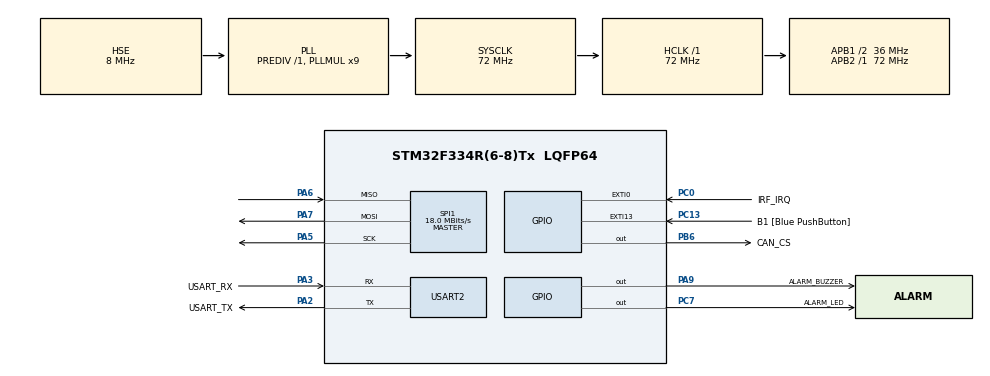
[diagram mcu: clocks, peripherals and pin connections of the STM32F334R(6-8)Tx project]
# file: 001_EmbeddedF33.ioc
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Mcu.Family=STM32F3
Mcu.Name=STM32F334R(6-8)Tx
Mcu.Package=LQFP64
NVIC.EXTI0_IRQn=true\:0\:0\:false\:false\:true\:true\:true\:true
NVIC.PriorityGroup=NVIC_PRIORITYGROUP_0
PA13.GPIO_Label=TMS
PA13.Mode=Serial_Wire
PA13.Signal=SYS_JTMS-SWDIO
PA14.GPIO_Label=TCK
PA14.Mode=Serial_Wire
PA14.Signal=SYS_JTCK-SWCLK
PA2.GPIO_Label=USART_TX
PA2.Mode=Asynchronous
PA2.Signal=USART2_TX
PA3.GPIO_Label=USART_RX
PA3.Mode=Asynchronous
PA3.Signal=USART2_RX
PA5.Mode=Full_Duplex_Master
PA5.Signal=SPI1_SCK
PA6.Mode=Full_Duplex_Master
PA6.Signal=SPI1_MISO
PA7.Mode=Full_Duplex_Master
PA7.Signal=SPI1_MOSI
PA9.GPIO_Label=ALARM_BUZZER
PA9.Signal=GPIO_Output
PB3.GPIO_Label=SWO
PB3.Signal=SYS_JTDO-TRACESWO
PB6.GPIO_Label=CAN_CS
PB6.Signal=GPIO_Output
PC0.GPIO_Label=IRF_IRQ
PC0.GPIO_ModeDefaultEXTI=GPIO_MODE_IT_FALLING
PC0.Signal=GPXTI0
PC13.GPIO_Label=B1 [Blue PushButton]
PC13.GPIO_ModeDefaultEXTI=GPIO_MODE_IT_FALLING
PC13.Signal=GPXTI13
PC14\ /\ OSC32_IN.Mode=LSE-External-Oscillator
PC14\ /\ OSC32_IN.Signal=RCC_OSC32_IN
PC15\ /\ OSC32_OUT.GPIO_Label=RCC_OSC32_OUT
PC15\ /\ OSC32_OUT.Mode=LSE-External-Oscillator
PC15\ /\ OSC32_OUT.Signal=RCC_OSC32_OUT
PC7.GPIO_Label=ALARM_LED
PC7.Signal=GPIO_Output
PF0\ /\ OSC_IN.Mode=HSE-External-Clock-Source
PF0\ /\ OSC_IN.Signal=RCC_OSC_IN
PF1\ /\ OSC_OUT.Signal=RCC_OSC_OUT
ProjectManager.HeapSize=0x200
ProjectManager.StackSize=0x400
ProjectManager.TargetToolchain=STM32CubeIDE
RCC.AHBFreq_Value=72000000
RCC.APB1CLKDivider=RCC_HCLK_DIV2
RCC.APB1Freq_Value=36000000
RCC.APB1TimFreq_Value=72000000
RCC.APB2Freq_Value=72000000
RCC.APB2TimFreq_Value=72000000
RCC.CortexFreq_Value=72000000
RCC.FLatency-AdvancedSettings=FLASH_LATENCY_2
RCC.HCLKFreq_Value=72000000
RCC.HSE_VALUE=8000000
RCC.HSI_VALUE=8000000
RCC.PLLMUL=RCC_PLL_MUL9
RCC.PLLSourceVirtual=RCC_PLLSOURCE_HSE
RCC.SYSCLKFreq_VALUE=72000000
RCC.SYSCLKSourceVirtual=RCC_SYSCLKSOURCE_PLLCLK
SPI1.BaudRatePrescaler=SPI_BAUDRATEPRESCALER_4
SPI1.CalculateBaudRate=18.0 MBits/s
SPI1.DataSize=SPI_DATASIZE_8BIT
SPI1.Direction=SPI_DIRECTION_2LINES
SPI1.Mode=SPI_MODE_MASTER
SPI1.VirtualType=VM_MASTER
TIM1.Prescaler=71
USART2.VirtualMode-Asynchronous=VM_ASYNC
VP_TIM1_VS_ClockSourceINT.Mode=Internal
board=NUCLEO-F334R8

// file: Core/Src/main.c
/* USER CODE BEGIN Header */
/**
  ******************************************************************************
  * @file           : main.c
  * @brief          : Main program body
  ******************************************************************************
  * @attention
  *
  * Copyright (c) 2023 STMicroelectronics.
  * All rights reserved.
  *
  * This software is licensed under terms that can be found in the LICENSE file
  * in the root directory of this software component.
  * If no LICENSE file comes with this software, it is provided AS-IS.
  *
  ******************************************************************************
  */
/* USER CODE END Header */
#include "main.h"

/* USER CODE BEGIN Includes */

#include "IRF.h"
#include "CANSPI.h"
#include "stdio.h"
#include "string.h"

/* USER CODE END Includes */

SPI_HandleTypeDef hspi1;

TIM_HandleTypeDef htim1;

UART_HandleTypeDef huart2;

/* USER CODE BEGIN PV */

uCAN_MSG txMessage;
uCAN_MSG rxMessage;

#define CAR_CLOSE			(0x5)
#define CAR_OPEN			(0x6)
#define ALARM_ENABLE		(0x7)

uint32_t carTimer = 0;
/* USER CODE END PV */

void SystemClock_Config(void);
static void MX_GPIO_Init(void);
static void MX_USART2_UART_Init(void);
static void MX_TIM1_Init(void);
static void MX_SPI1_Init(void);

int main(void)
{

  /* MCU Configuration--------------------------------------------------------*/

  /* Reset of all peripherals, Initializes the Flash interface and the Systick. */
  HAL_Init();

  /* Configure the system clock */
  SystemClock_Config();

  /* Initialize all configured peripherals */
  MX_GPIO_Init();
  MX_USART2_UART_Init();
  MX_TIM1_Init();
  MX_SPI1_Init();
  /* USER CODE BEGIN 2 */

  IRF_Init();
  CANSPI_Initialize();

  /* USER CODE END 2 */

  /* Infinite loop */
  while (1)
  {

    /* USER CODE BEGIN 3 */

	  if(irfState.irfFlag == IRF_FLAG_ON)		//check the remote controller
	  {
		    txMessage.frame.idType = dSTANDARD_CAN_MSG_ID_2_0B;	//standart can
		    txMessage.frame.id = 0x0A;
		    txMessage.frame.dlc = 3;
		    txMessage.frame.data0 = irfState.code & 0xFF;
		    txMessage.frame.data1 = (irfState.code >> 8) & 0xFF;
		    txMessage.frame.data2 = (irfState.code >> 16) & 0xFF;
		    irfState.irfFlag = IRF_FLAG_OFF;
		    CANSPI_Transmit(&txMessage);
	  }
	  if(CANSPI_Receive(&rxMessage))			//if take can message
	  {
		  if(rxMessage.frame.id == 0xA && rxMessage.frame.dlc == 1 &&  rxMessage.frame.idType == dSTANDARD_CAN_MSG_ID_2_0B)
		  {
			  if(rxMessage.frame.data0 == ALARM_ENABLE || rxMessage.frame.data0 == CAR_OPEN)
			  {
				  HAL_GPIO_WritePin(ALARM_BUZZER_GPIO_Port, ALARM_BUZZER_Pin, GPIO_PIN_SET);
				  HAL_GPIO_WritePin(ALARM_LED_GPIO_Port, ALARM_LED_Pin, GPIO_PIN_SET);
				  HAL_Delay(600);
				  HAL_GPIO_WritePin(ALARM_BUZZER_GPIO_Port, ALARM_BUZZER_Pin, GPIO_PIN_RESET);
				  memset(&rxMessage, 0, sizeof(rxMessage));

			  }
			  else if(rxMessage.frame.data0 == CAR_CLOSE)
			  {
				  HAL_GPIO_WritePin(ALARM_BUZZER_GPIO_Port, ALARM_BUZZER_Pin, GPIO_PIN_RESET);
				  HAL_GPIO_WritePin(ALARM_LED_GPIO_Port, ALARM_LED_Pin, GPIO_PIN_RESET);
			  }
		  }
	  }
  }
  /* USER CODE END 3 */
}

void SystemClock_Config(void)
{
  RCC_OscInitTypeDef RCC_OscInitStruct = {0};
  RCC_ClkInitTypeDef RCC_ClkInitStruct = {0};
  RCC_PeriphCLKInitTypeDef PeriphClkInit = {0};

  /** Initializes the RCC Oscillators according to the specified parameters
  * in the RCC_OscInitTypeDef structure.
  */
  RCC_OscInitStruct.OscillatorType = RCC_OSCILLATORTYPE_HSE;
  RCC_OscInitStruct.HSEState = RCC_HSE_BYPASS;
  RCC_OscInitStruct.HSEPredivValue = RCC_HSE_PREDIV_DIV1;
  RCC_OscInitStruct.HSIState = RCC_HSI_ON;
  RCC_OscInitStruct.PLL.PLLState = RCC_PLL_ON;
  RCC_OscInitStruct.PLL.PLLSource = RCC_PLLSOURCE_HSE;
  RCC_OscInitStruct.PLL.PLLMUL = RCC_PLL_MUL9;
  if (HAL_RCC_OscConfig(&RCC_OscInitStruct) != HAL_OK)
  {
    Error_Handler();
  }

  /** Initializes the CPU, AHB and APB buses clocks
  */
  RCC_ClkInitStruct.ClockType = RCC_CLOCKTYPE_HCLK|RCC_CLOCKTYPE_SYSCLK
                              |RCC_CLOCKTYPE_PCLK1|RCC_CLOCKTYPE_PCLK2;
  RCC_ClkInitStruct.SYSCLKSource = RCC_SYSCLKSOURCE_PLLCLK;
  RCC_ClkInitStruct.AHBCLKDivider = RCC_SYSCLK_DIV1;
  RCC_ClkInitStruct.APB1CLKDivider = RCC_HCLK_DIV2;
  RCC_ClkInitStruct.APB2CLKDivider = RCC_HCLK_DIV1;

  if (HAL_RCC_ClockConfig(&RCC_ClkInitStruct, FLASH_LATENCY_2) != HAL_OK)
  {
    Error_Handler();
  }
  PeriphClkInit.PeriphClockSelection = RCC_PERIPHCLK_TIM1;
  PeriphClkInit.Tim1ClockSelection = RCC_TIM1CLK_HCLK;
  if (HAL_RCCEx_PeriphCLKConfig(&PeriphClkInit) != HAL_OK)
  {
    Error_Handler();
  }
}

static void MX_SPI1_Init(void)
{

  /* SPI1 parameter configuration*/
  hspi1.Instance = SPI1;
  hspi1.Init.Mode = SPI_MODE_MASTER;
  hspi1.Init.Direction = SPI_DIRECTION_2LINES;
  hspi1.Init.DataSize = SPI_DATASIZE_8BIT;
  hspi1.Init.CLKPolarity = SPI_POLARITY_LOW;
  hspi1.Init.CLKPhase = SPI_PHASE_1EDGE;
  hspi1.Init.NSS = SPI_NSS_SOFT;
  hspi1.Init.BaudRatePrescaler = SPI_BAUDRATEPRESCALER_4;
  hspi1.Init.FirstBit = SPI_FIRSTBIT_MSB;
  hspi1.Init.TIMode = SPI_TIMODE_DISABLE;
  hspi1.Init.CRCCalculation = SPI_CRCCALCULATION_DISABLE;
  hspi1.Init.CRCPolynomial = 7;
  hspi1.Init.CRCLength = SPI_CRC_LENGTH_DATASIZE;
  hspi1.Init.NSSPMode = SPI_NSS_PULSE_ENABLE;
  if (HAL_SPI_Init(&hspi1) != HAL_OK)
  {
    Error_Handler();
  }

}

static void MX_TIM1_Init(void)
{

  TIM_ClockConfigTypeDef sClockSourceConfig = {0};
  TIM_MasterConfigTypeDef sMasterConfig = {0};

  htim1.Instance = TIM1;
  htim1.Init.Prescaler = 71;
  htim1.Init.CounterMode = TIM_COUNTERMODE_UP;
  htim1.Init.Period = 65535;
  htim1.Init.ClockDivision = TIM_CLOCKDIVISION_DIV1;
  htim1.Init.RepetitionCounter = 0;
  htim1.Init.AutoReloadPreload = TIM_AUTORELOAD_PRELOAD_DISABLE;
  if (HAL_TIM_Base_Init(&htim1) != HAL_OK)
  {
    Error_Handler();
  }
  sClockSourceConfig.ClockSource = TIM_CLOCKSOURCE_INTERNAL;
  if (HAL_TIM_ConfigClockSource(&htim1, &sClockSourceConfig) != HAL_OK)
  {
    Error_Handler();
  }
  sMasterConfig.MasterOutputTrigger = TIM_TRGO_RESET;
  sMasterConfig.MasterOutputTrigger2 = TIM_TRGO2_RESET;
  sMasterConfig.MasterSlaveMode = TIM_MASTERSLAVEMODE_DISABLE;
  if (HAL_TIMEx_MasterConfigSynchronization(&htim1, &sMasterConfig) != HAL_OK)
  {
    Error_Handler();
  }

}

static void MX_USART2_UART_Init(void)
{

  huart2.Instance = USART2;
  huart2.Init.BaudRate = 38400;
  huart2.Init.WordLength = UART_WORDLENGTH_8B;
  huart2.Init.StopBits = UART_STOPBITS_1;
  huart2.Init.Parity = UART_PARITY_NONE;
  huart2.Init.Mode = UART_MODE_TX_RX;
  huart2.Init.HwFlowCtl = UART_HWCONTROL_NONE;
  huart2.Init.OverSampling = UART_OVERSAMPLING_16;
  huart2.Init.OneBitSampling = UART_ONE_BIT_SAMPLE_DISABLE;
  huart2.AdvancedInit.AdvFeatureInit = UART_ADVFEATURE_NO_INIT;
  if (HAL_UART_Init(&huart2) != HAL_OK)
  {
    Error_Handler();
  }

}

static void MX_GPIO_Init(void)
{
  GPIO_InitTypeDef GPIO_InitStruct = {0};

  /* GPIO Ports Clock Enable */
  __HAL_RCC_GPIOC_CLK_ENABLE();
  __HAL_RCC_GPIOF_CLK_ENABLE();
  __HAL_RCC_GPIOA_CLK_ENABLE();
  __HAL_RCC_GPIOB_CLK_ENABLE();

  /*Configure GPIO pin Output Level */
  HAL_GPIO_WritePin(ALARM_LED_GPIO_Port, ALARM_LED_Pin, GPIO_PIN_RESET);

  /*Configure GPIO pin Output Level */
  HAL_GPIO_WritePin(ALARM_BUZZER_GPIO_Port, ALARM_BUZZER_Pin, GPIO_PIN_RESET);

  /*Configure GPIO pin Output Level */
  HAL_GPIO_WritePin(CAN_CS_GPIO_Port, CAN_CS_Pin, GPIO_PIN_RESET);

  /*Configure GPIO pins : B1_Pin IRF_IRQ_Pin */
  GPIO_InitStruct.Pin = B1_Pin|IRF_IRQ_Pin;
  GPIO_InitStruct.Mode = GPIO_MODE_IT_FALLING;
  GPIO_InitStruct.Pull = GPIO_NOPULL;
  HAL_GPIO_Init(GPIOC, &GPIO_InitStruct);

  /*Configure GPIO pin : ALARM_LED_Pin */
  GPIO_InitStruct.Pin = ALARM_LED_Pin;
  GPIO_InitStruct.Mode = GPIO_MODE_OUTPUT_PP;
  GPIO_InitStruct.Pull = GPIO_NOPULL;
  GPIO_InitStruct.Speed = GPIO_SPEED_FREQ_LOW;
  HAL_GPIO_Init(ALARM_LED_GPIO_Port, &GPIO_InitStruct);

  /*Configure GPIO pin : ALARM_BUZZER_Pin */
  GPIO_InitStruct.Pin = ALARM_BUZZER_Pin;
  GPIO_InitStruct.Mode = GPIO_MODE_OUTPUT_PP;
  GPIO_InitStruct.Pull = GPIO_NOPULL;
  GPIO_InitStruct.Speed = GPIO_SPEED_FREQ_LOW;
  HAL_GPIO_Init(ALARM_BUZZER_GPIO_Port, &GPIO_InitStruct);

  /*Configure GPIO pin : CAN_CS_Pin */
  GPIO_InitStruct.Pin = CAN_CS_Pin;
  GPIO_InitStruct.Mode = GPIO_MODE_OUTPUT_PP;
  GPIO_InitStruct.Pull = GPIO_NOPULL;
  GPIO_InitStruct.Speed = GPIO_SPEED_FREQ_LOW;
  HAL_GPIO_Init(CAN_CS_GPIO_Port, &GPIO_InitStruct);

  /* EXTI interrupt init*/
  HAL_NVIC_SetPriority(EXTI0_IRQn, 0, 0);
  HAL_NVIC_EnableIRQ(EXTI0_IRQn);

}

void Error_Handler(void)
{
  __disable_irq();
  while (1)
  {
  }
}
